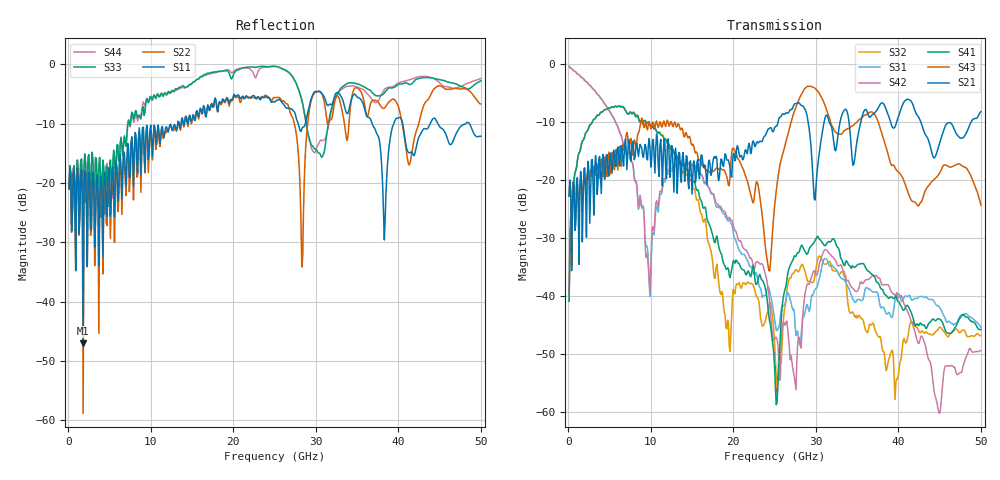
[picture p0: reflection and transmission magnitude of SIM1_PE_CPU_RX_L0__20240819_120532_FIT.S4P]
! SPDX-FileCopyrightText: Copyright (c) Meta Platforms, Inc. and affiliates.
! SPDX-FileCopyrightText: © 2024 Rivos Inc.
!Generated from: C:\SIPIProj\Olympus\Xtract\Run_20240122_163105\SimFile\SIM1_PE_CPU_RX_L0__20240122_163105.spd
! Port_1::PE_CPU_RX_C_DP<0>
! Port_2::PE_CPU_RX_C_DN<0>
! Port_3::PE_CPU_RX_DP<0>
! Port_4::PE_CPU_RX_DN<0>
!Layout Workbench Version: 23.1.2.10131.459628  200
!Computer Host Name: YS-LT
!TouchstoneFormatFlag = 1
! GNDNET
! NETSLIST PE_CPU_RX_C_DN<0>, PE_CPU_RX_C_DP<0>, PE_CPU_RX_DN<0>, PE_CPU_RX_DP<0>
! Port 1 = U1_SBALL-AA1 PE_CPU_RX_C_DP<0>
! Port 2 = U1_SBALL-AB1 PE_CPU_RX_C_DN<0>
! Port 3 = J5_SBUMP-A16 PE_CPU_RX_DP<0>
! Port 4 = J5_SBUMP-A17 PE_CPU_RX_DN<0>
#	Hz	S	RI	R	50
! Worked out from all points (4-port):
!   500 points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, 101 MHz to 50 GHz, reference 50 ohm
!   strongest paths, dB at 101 MHz, 12.6 GHz, 25.1 GHz, 37.6 GHz, 50 GHz:
!     S21: -22.8, -14.1, -10.8, -7.4, -8.1
!     S43: -22.8, -10.5, -23.1, -10.1, -24.3
!     S41: -40.9, -14.6, -55.8, -37.9, -45.8
!     S42: -0.3, -18.1, -47.1, -36.9, -49.5
!     S31: -0.3, -18.4, -45.1, -40.2, -45.4
!     S32: -40.9, -14.8, -51.1, -47.1, -46.9
!   lowest |S11| = -47.0 dB at 1.801 GHz (marker M1), VSWR 1.01, Z = 49.8 + j0.398 ohm
!   |S11| at or under -10 dB: start of sweep to 13.26 GHz; 40.52 GHz to 43.85 GHz (3.334 GHz wide, 7.9 % of centre); 44.8 GHz to 48.13 GHz (3.323 GHz wide, 7.15 % of centre)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
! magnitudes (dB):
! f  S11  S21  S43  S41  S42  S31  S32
! 101 MHz  -21.0  -22.8  -22.8  -40.9  -0.3  -0.3  -40.9
! 1.801 GHz  -47.0  -23.4  -21.2  -13.1  -2.4  -2.4  -13.1
! 9.801 GHz  -14.7  -12.8  -9.9  -10.2  -37.1  -37.7  -10.3
! 25.2 GHz  -6.1  -10.7  -21.9  -58.8  -47.2  -45.9  -54.1
! 28.3 GHz  -10.9  -7.1  -5.1  -31.2  -46.8  -45.1  -34.6
! 30.2 GHz  -4.6  -17.8  -4.6  -29.7  -36.2  -38.3  -33.9
! 50 GHz  -12.1  -8.1  -24.3  -45.8  -49.5  -45.4  -46.9
